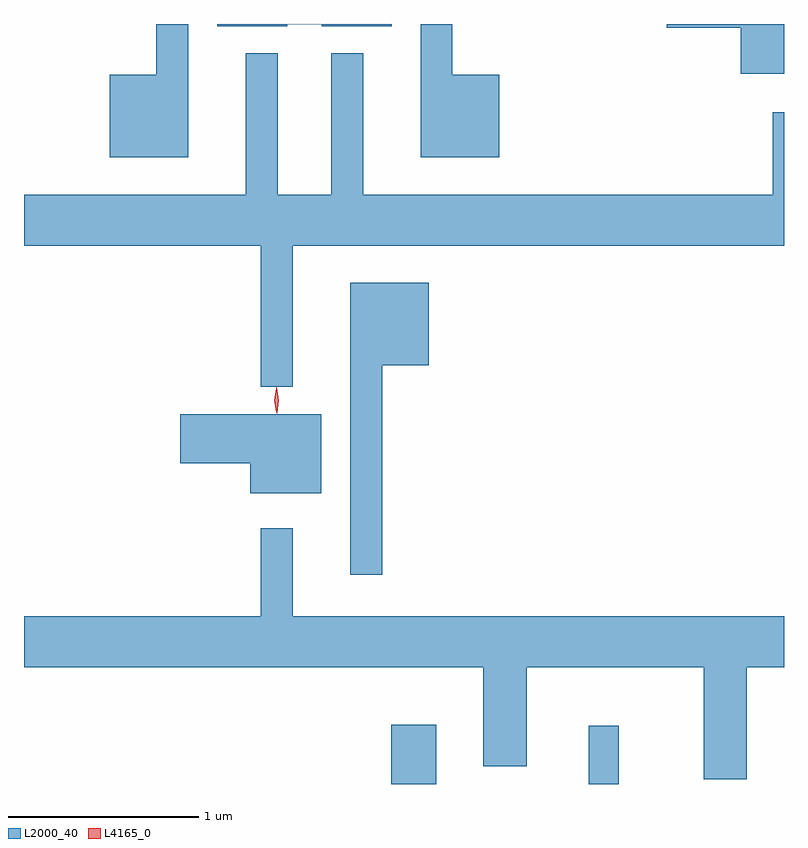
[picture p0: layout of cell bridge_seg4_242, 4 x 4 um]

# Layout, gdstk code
import gdstk
lib = gdstk.Library(unit=1e-6, precision=1e-09)
def R(c, l, rs):  # rectangles x0, y0, x1, y1
    for r in rs: c.add(gdstk.rectangle(r[:2], r[2:], *l))
def P(c, l, *ps):  # polygons
    for p in ps: c.add(gdstk.Polygon(p, *l))
L2000_40 = (2000, 40)
L4165_0 = (4165, 0)

bridge_seg4_242 = lib.new_cell('bridge_seg4_242')
R(bridge_seg4_242, L2000_40, [(736.996,1374.042,737.234,1374.354), (738.036,1374.042,738.194,1374.348)])
P(bridge_seg4_242, L2000_40, [(737.564,1377.774),(737.319,1377.774),(737.319,1378.042),(737.151,1378.042),(737.151,1377.341),(737.564,1377.341)],
  [(736.45,1378.041),(736.63,1378.041),(736.63,1378.031),(736.999,1378.031),(736.999,1378.042),(736.081,1378.042),(736.081,1378.031),(736.45,1378.031)],
  [(735.929,1378.042),(735.761,1378.042),(735.761,1377.774),(735.516,1377.774),(735.516,1377.341),(735.929,1377.341)],
  [(739.064,1378.042),(738.446,1378.042),(738.446,1378.021),(738.836,1378.021),(738.836,1377.781),(739.064,1377.781)],
  [(736.479,1376.876),(739.064,1376.876),(739.064,1377.578),(739.006,1377.578),(739.006,1377.144),(736.849,1377.144),(736.849,1377.888),(736.681,1377.888),(736.681,1377.144),(736.399,1377.144),(736.399,1377.888),(736.231,1377.888),(736.231,1377.144),(735.064,1377.144),(735.064,1376.876),(736.311,1376.876),(736.311,1376.133),(736.479,1376.133)],
  [(736.949,1376.246),(737.194,1376.246),(737.194,1376.679),(736.781,1376.679),(736.781,1375.143),(736.949,1375.143)],
  [(736.629,1375.989),(735.886,1375.989),(735.886,1375.731),(736.256,1375.731),(736.256,1375.571),(736.629,1375.571)],
  [(738.869,1374.656),(739.064,1374.656),(739.064,1374.924),(736.479,1374.924),(736.479,1375.388),(736.311,1375.388),(736.311,1374.924),(735.064,1374.924),(735.064,1374.656),(737.481,1374.656),(737.481,1374.136),(737.709,1374.136),(737.709,1374.656),(738.641,1374.656),(738.641,1374.066),(738.869,1374.066)])
P(bridge_seg4_242, L4165_0, [(736.395,1375.994),(736.385,1376.062),(736.394,1376.13),(736.395,1376.13),(736.395,1376.13),(736.405,1376.062),(736.396,1375.994),(736.396,1375.994)],
  [(736.392,1376),(736.392,1376),(736.382,1376.063),(736.392,1376.126),(736.392,1376.127),(736.392,1376.126),(736.402,1376.063),(736.392,1376)])

lib.write_gds('bridge_seg4_242.gds')
